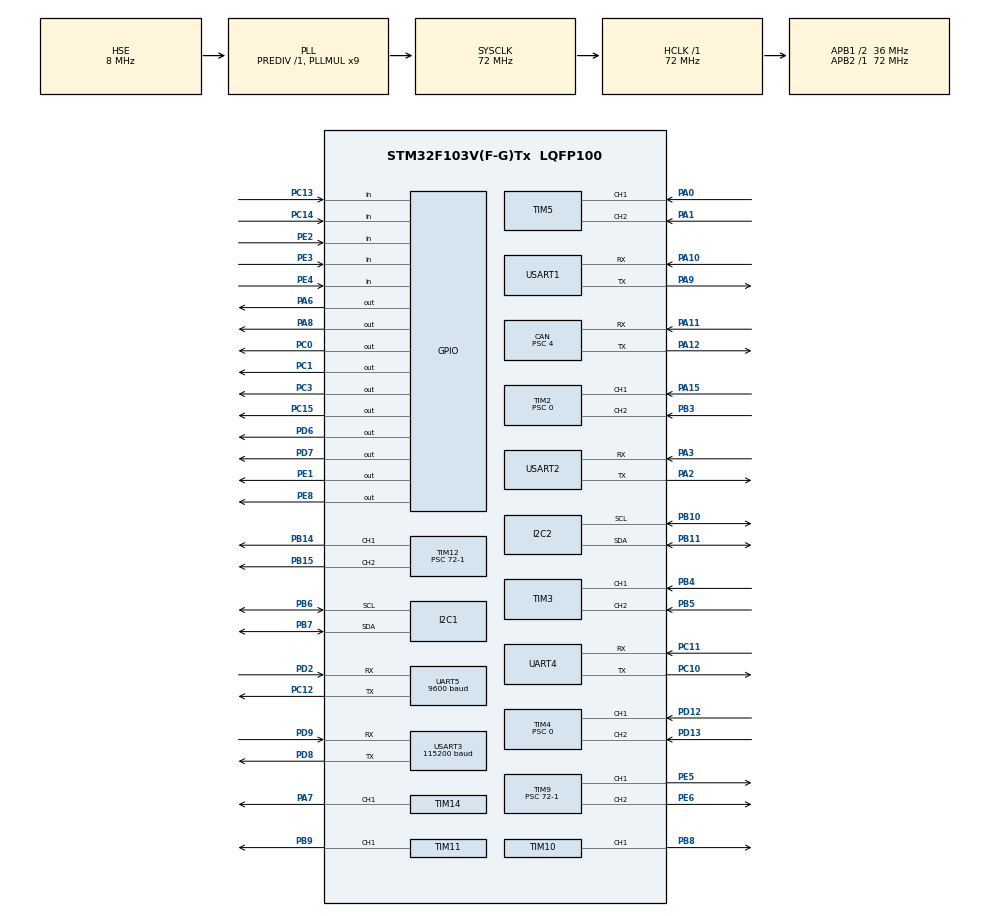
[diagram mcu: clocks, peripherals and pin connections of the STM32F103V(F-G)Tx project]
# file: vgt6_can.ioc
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CAN.ABOM=ENABLE
CAN.AWUM=DISABLE
CAN.BS1=CAN_BS1_15TQ
CAN.BS2=CAN_BS2_2TQ
CAN.CalculateBaudRate=500000
CAN.CalculateTimeBit=2000
CAN.CalculateTimeQuantum=111.11111111111111
CAN.Mode=CAN_MODE_NORMAL
CAN.NART=ENABLE
CAN.Prescaler=4
Dma.Request0=USART1_RX
Dma.Request1=USART1_TX
Dma.Request2=USART2_RX
Dma.Request3=USART2_TX
Dma.Request4=USART3_RX
Dma.Request5=USART3_TX
Dma.Request6=UART4_RX
Dma.Request7=UART4_TX
Dma.UART4_RX.6.Direction=DMA_PERIPH_TO_MEMORY
Dma.UART4_RX.6.Instance=DMA2_Channel3
Dma.UART4_RX.6.MemDataAlignment=DMA_MDATAALIGN_BYTE
Dma.UART4_RX.6.MemInc=DMA_MINC_ENABLE
Dma.UART4_RX.6.Mode=DMA_NORMAL
Dma.UART4_RX.6.PeriphDataAlignment=DMA_PDATAALIGN_BYTE
Dma.UART4_RX.6.PeriphInc=DMA_PINC_DISABLE
Dma.UART4_RX.6.Priority=DMA_PRIORITY_LOW
Dma.UART4_TX.7.Direction=DMA_MEMORY_TO_PERIPH
Dma.UART4_TX.7.Instance=DMA2_Channel5
Dma.UART4_TX.7.MemDataAlignment=DMA_MDATAALIGN_BYTE
Dma.UART4_TX.7.MemInc=DMA_MINC_ENABLE
Dma.UART4_TX.7.Mode=DMA_NORMAL
Dma.UART4_TX.7.PeriphDataAlignment=DMA_PDATAALIGN_BYTE
Dma.UART4_TX.7.PeriphInc=DMA_PINC_DISABLE
Dma.UART4_TX.7.Priority=DMA_PRIORITY_LOW
Dma.USART1_RX.0.Direction=DMA_PERIPH_TO_MEMORY
Dma.USART1_RX.0.Instance=DMA1_Channel5
Dma.USART1_RX.0.MemDataAlignment=DMA_MDATAALIGN_BYTE
Dma.USART1_RX.0.MemInc=DMA_MINC_ENABLE
Dma.USART1_RX.0.Mode=DMA_NORMAL
Dma.USART1_RX.0.PeriphDataAlignment=DMA_PDATAALIGN_BYTE
Dma.USART1_RX.0.PeriphInc=DMA_PINC_DISABLE
Dma.USART1_RX.0.Priority=DMA_PRIORITY_LOW
Dma.USART1_TX.1.Direction=DMA_MEMORY_TO_PERIPH
Dma.USART1_TX.1.Instance=DMA1_Channel4
Dma.USART1_TX.1.MemDataAlignment=DMA_MDATAALIGN_BYTE
Dma.USART1_TX.1.MemInc=DMA_MINC_ENABLE
Dma.USART1_TX.1.Mode=DMA_NORMAL
Dma.USART1_TX.1.PeriphDataAlignment=DMA_PDATAALIGN_BYTE
Dma.USART1_TX.1.PeriphInc=DMA_PINC_DISABLE
Dma.USART1_TX.1.Priority=DMA_PRIORITY_LOW
Dma.USART2_RX.2.Direction=DMA_PERIPH_TO_MEMORY
Dma.USART2_RX.2.Instance=DMA1_Channel6
Dma.USART2_RX.2.MemDataAlignment=DMA_MDATAALIGN_BYTE
Dma.USART2_RX.2.MemInc=DMA_MINC_ENABLE
Dma.USART2_RX.2.Mode=DMA_NORMAL
Dma.USART2_RX.2.PeriphDataAlignment=DMA_PDATAALIGN_BYTE
Dma.USART2_RX.2.PeriphInc=DMA_PINC_DISABLE
Dma.USART2_RX.2.Priority=DMA_PRIORITY_LOW
Dma.USART2_TX.3.Direction=DMA_MEMORY_TO_PERIPH
Dma.USART2_TX.3.Instance=DMA1_Channel7
Dma.USART2_TX.3.MemDataAlignment=DMA_MDATAALIGN_BYTE
Dma.USART2_TX.3.MemInc=DMA_MINC_ENABLE
Dma.USART2_TX.3.Mode=DMA_NORMAL
Dma.USART2_TX.3.PeriphDataAlignment=DMA_PDATAALIGN_BYTE
Dma.USART2_TX.3.PeriphInc=DMA_PINC_DISABLE
Dma.USART2_TX.3.Priority=DMA_PRIORITY_LOW
Dma.USART3_RX.4.Direction=DMA_PERIPH_TO_MEMORY
Dma.USART3_RX.4.Instance=DMA1_Channel3
Dma.USART3_RX.4.MemDataAlignment=DMA_MDATAALIGN_BYTE
Dma.USART3_RX.4.MemInc=DMA_MINC_ENABLE
Dma.USART3_RX.4.Mode=DMA_NORMAL
Dma.USART3_RX.4.PeriphDataAlignment=DMA_PDATAALIGN_BYTE
Dma.USART3_RX.4.PeriphInc=DMA_PINC_DISABLE
Dma.USART3_RX.4.Priority=DMA_PRIORITY_LOW
Dma.USART3_TX.5.Direction=DMA_MEMORY_TO_PERIPH
Dma.USART3_TX.5.Instance=DMA1_Channel2
Dma.USART3_TX.5.MemDataAlignment=DMA_MDATAALIGN_BYTE
Dma.USART3_TX.5.MemInc=DMA_MINC_ENABLE
Dma.USART3_TX.5.Mode=DMA_NORMAL
Dma.USART3_TX.5.PeriphDataAlignment=DMA_PDATAALIGN_BYTE
Dma.USART3_TX.5.PeriphInc=DMA_PINC_DISABLE
Dma.USART3_TX.5.Priority=DMA_PRIORITY_LOW
FREERTOS.Queues01=uart1_queue,4,void*,0,Dynamic,NULL,NULL
FREERTOS.Tasks01=defaultTask,8,128,StartDefaultTask,Default,NULL,Dynamic,NULL,NULL;CHASSIS_TASK,25,128,chassis_task,As external,NULL,Dynamic,NULL,NULL;POSITION_TASK,24,128,position_task,As external,NULL,Dynamic,NULL,NULL;MAIN_TASK,16,256,main_task,As external,NULL,Dynamic,NULL,NULL;UART_RX_TASK,40,256,uart_rx_task,As external,NULL,Dynamic,NULL,NULL;MUSIC_TASK,9,128,music_task,As external,NULL,Dynamic,NULL,NULL
FREERTOS.configTOTAL_HEAP_SIZE=15360
I2C1.I2C_Mode=I2C_Fast
Mcu.Family=STM32F1
Mcu.Name=STM32F103V(F-G)Tx
Mcu.Package=LQFP100
NVIC.DMA1_Channel2_IRQn=true\:5\:0\:false\:false\:true\:true\:false\:true\:true
NVIC.DMA1_Channel3_IRQn=true\:5\:0\:false\:false\:true\:true\:false\:true\:true
NVIC.DMA1_Channel4_IRQn=true\:5\:0\:false\:false\:true\:true\:false\:true\:true
NVIC.DMA1_Channel5_IRQn=true\:5\:0\:false\:false\:true\:true\:false\:true\:true
NVIC.DMA1_Channel6_IRQn=true\:5\:0\:false\:false\:true\:true\:false\:true\:true
NVIC.DMA1_Channel7_IRQn=true\:5\:0\:false\:false\:true\:true\:false\:true\:true
NVIC.DMA2_Channel3_IRQn=true\:5\:0\:false\:false\:true\:true\:false\:true\:true
NVIC.DMA2_Channel4_5_IRQn=true\:5\:0\:false\:false\:true\:true\:false\:true\:true
NVIC.PriorityGroup=NVIC_PRIORITYGROUP_4
NVIC.TIM6_IRQn=true\:15\:0\:false\:false\:true\:false\:false\:true\:true
NVIC.TimeBase=TIM6_IRQn
NVIC.TimeBaseIP=TIM6
NVIC.UART4_IRQn=true\:5\:0\:true\:false\:true\:true\:true\:true\:true
NVIC.UART5_IRQn=true\:5\:0\:true\:false\:true\:true\:true\:true\:true
NVIC.USART1_IRQn=true\:5\:0\:true\:false\:true\:true\:false\:true\:true
NVIC.USART2_IRQn=true\:5\:0\:true\:false\:true\:true\:false\:true\:true
NVIC.USART3_IRQn=true\:5\:0\:true\:false\:true\:true\:false\:true\:true
NVIC.USB_LP_CAN1_RX0_IRQn=true\:5\:0\:true\:false\:true\:true\:true\:true\:true
OSC_IN.Mode=HSE-External-Clock-Source
OSC_IN.Signal=RCC_OSC_IN
OSC_OUT.Mode=HSE-External-Clock-Source
OSC_OUT.Signal=RCC_OSC_OUT
PA0-WKUP.Signal=S_TIM5_CH1
PA1.Signal=S_TIM5_CH2
PA10.Mode=Asynchronous
PA10.Signal=USART1_RX
PA11.Mode=CAN_Activate
PA11.Signal=CAN_RX
PA12.Mode=CAN_Activate
PA12.Signal=CAN_TX
PA13.Mode=Serial_Wire
PA13.Signal=SYS_JTMS-SWDIO
PA14.Mode=Serial_Wire
PA14.Signal=SYS_JTCK-SWCLK
PA15.Signal=S_TIM2_CH1_ETR
PA2.Mode=Asynchronous
PA2.Signal=USART2_TX
PA3.Mode=Asynchronous
PA3.Signal=USART2_RX
PA6.Signal=GPIO_Output
PA7.Signal=S_TIM14_CH1
PA8.Signal=GPIO_Output
PA9.Mode=Asynchronous
PA9.Signal=USART1_TX
PB10.Mode=I2C
PB10.Signal=I2C2_SCL
PB11.Mode=I2C
PB11.Signal=I2C2_SDA
PB14.Signal=S_TIM12_CH1
PB15.Signal=S_TIM12_CH2
PB3.Signal=S_TIM2_CH2
PB4.Signal=S_TIM3_CH1
PB5.Signal=S_TIM3_CH2
PB6.Mode=I2C
PB6.Signal=I2C1_SCL
PB7.Mode=I2C
PB7.Signal=I2C1_SDA
PB8.Signal=S_TIM10_CH1
PB9.Signal=S_TIM11_CH1
PC0.Signal=GPIO_Output
PC1.Signal=GPIO_Output
PC10.Mode=Asynchronous
PC10.Signal=UART4_TX
PC11.Mode=Asynchronous
PC11.Signal=UART4_RX
PC12.Mode=Asynchronous
PC12.Signal=UART5_TX
PC13-TAMPER-RTC.Signal=GPIO_Input
PC14-OSC32_IN.Signal=GPIO_Input
PC15-OSC32_OUT.Signal=GPIO_Output
PC3.Signal=GPIO_Output
PD12.Signal=S_TIM4_CH1
PD13.Signal=S_TIM4_CH2
PD2.Mode=Asynchronous
PD2.Signal=UART5_RX
PD6.Signal=GPIO_Output
PD7.Signal=GPIO_Output
PD8.Mode=Asynchronous
PD8.Signal=USART3_TX
PD9.Mode=Asynchronous
PD9.Signal=USART3_RX
PE1.Signal=GPIO_Output
PE2.Signal=GPIO_Input
PE3.Signal=GPIO_Input
PE4.Signal=GPIO_Input
PE5.Signal=S_TIM9_CH1
PE6.Signal=S_TIM9_CH2
PE8.Signal=GPIO_Output
ProjectManager.HeapSize=0x200
ProjectManager.StackSize=0x400
ProjectManager.TargetToolchain=CMake
RCC.AHBFreq_Value=72000000
RCC.APB1CLKDivider=RCC_HCLK_DIV2
RCC.APB1Freq_Value=36000000
RCC.APB1TimFreq_Value=72000000
RCC.APB2Freq_Value=72000000
RCC.APB2TimFreq_Value=72000000
RCC.HCLKFreq_Value=72000000
RCC.PLLMUL=RCC_PLL_MUL9
RCC.PLLSourceVirtual=RCC_PLLSOURCE_HSE
RCC.SYSCLKFreq_VALUE=72000000
RCC.SYSCLKSource=RCC_SYSCLKSOURCE_PLLCLK
RCC.USBFreq_Value=72000000
SH.S_TIM10_CH1.0=TIM10_CH1,PWM Generation1 CH1
SH.S_TIM11_CH1.0=TIM11_CH1,PWM Generation1 CH1
SH.S_TIM12_CH1.0=TIM12_CH1,PWM Generation1 CH1
SH.S_TIM12_CH2.0=TIM12_CH2,PWM Generation2 CH2
SH.S_TIM14_CH1.0=TIM14_CH1,PWM Generation1 CH1
SH.S_TIM2_CH1_ETR.0=TIM2_CH1,Encoder_Interface
SH.S_TIM2_CH2.0=TIM2_CH2,Encoder_Interface
SH.S_TIM3_CH1.0=TIM3_CH1,Encoder_Interface
SH.S_TIM3_CH2.0=TIM3_CH2,Encoder_Interface
SH.S_TIM4_CH1.0=TIM4_CH1,Encoder_Interface
SH.S_TIM4_CH2.0=TIM4_CH2,Encoder_Interface
SH.S_TIM5_CH1.0=TIM5_CH1,Encoder_Interface
SH.S_TIM5_CH2.0=TIM5_CH2,Encoder_Interface
SH.S_TIM9_CH1.0=TIM9_CH1,PWM Generation1 CH1
SH.S_TIM9_CH2.0=TIM9_CH2,PWM Generation2 CH2
STMicroelectronics.X-CUBE-ALGOBUILD.1.4.0.LibraryCcDSPOoLibraryJjDSPOoLibrary=true
TIM10.Channel=TIM_CHANNEL_1
TIM10.Period=20000-1
TIM10.Prescaler=72-1
TIM11.Channel=TIM_CHANNEL_1
TIM11.Period=20000-1
TIM11.Prescaler=72-1
TIM12.Channel-PWM\ Generation1\ CH1=TIM_CHANNEL_1
TIM12.Channel-PWM\ Generation2\ CH2=TIM_CHANNEL_2
TIM12.Period=100-1
TIM12.Prescaler=72-1
TIM14.Channel=TIM_CHANNEL_1
TIM14.Period=1000-1
TIM14.Prescaler=72-1
TIM2.EncoderMode=TIM_ENCODERMODE_TI12
TIM2.IC1Filter=15
TIM2.IC1Polarity=TIM_ICPOLARITY_FALLING
TIM2.IC2Filter=15
TIM2.IC2Polarity=TIM_ICPOLARITY_FALLING
TIM2.Prescaler=0
TIM3.EncoderMode=TIM_ENCODERMODE_TI12
TIM3.IC1Filter=15
TIM3.IC1Polarity=TIM_ICPOLARITY_FALLING
TIM3.IC2Filter=15
TIM3.IC2Polarity=TIM_ICPOLARITY_FALLING
TIM4.EncoderMode=TIM_ENCODERMODE_TI12
TIM4.IC1Filter=15
TIM4.IC1Polarity=TIM_ICPOLARITY_FALLING
TIM4.IC2Filter=15
TIM4.IC2Polarity=TIM_ICPOLARITY_FALLING
TIM4.Prescaler=0
TIM5.EncoderMode=TIM_ENCODERMODE_TI12
TIM5.IC1Filter=15
TIM5.IC1Polarity=TIM_ICPOLARITY_FALLING
TIM5.IC2Filter=15
TIM5.IC2Polarity=TIM_ICPOLARITY_FALLING
TIM9.Channel-PWM\ Generation1\ CH1=TIM_CHANNEL_1
TIM9.Channel-PWM\ Generation2\ CH2=TIM_CHANNEL_2
TIM9.Period=100-1
TIM9.Prescaler=72-1
UART4.VirtualMode=Asynchronous
UART5.BaudRate=9600
UART5.VirtualMode=Asynchronous
USART1.VirtualMode=VM_ASYNC
USART2.VirtualMode=VM_ASYNC
USART3.BaudRate=115200
USART3.VirtualMode=VM_ASYNC
VP_FREERTOS_VS_CMSIS_V2.Mode=CMSIS_V2
VP_STMicroelectronics.X-CUBE-ALGOBUILD_VS_DSPOoLibraryJjLibrary_1.4.0_1.4.0.Mode=DSPOoLibraryJjLibrary
VP_SYS_VS_tim6.Mode=TIM6
VP_TIM10_VS_ClockSourceINT.Mode=Enable_Timer
VP_TIM11_VS_ClockSourceINT.Mode=Enable_Timer
VP_TIM12_VS_ClockSourceINT.Mode=Internal
VP_TIM14_VS_ClockSourceINT.Mode=Enable_Timer
VP_TIM9_VS_ClockSourceINT.Mode=Internal
board=custom

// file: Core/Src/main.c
/* USER CODE BEGIN Header */
/**
  ******************************************************************************
  * @file           : main.c
  * @brief          : Main program body
  ******************************************************************************
  * @attention
  *
  * Copyright (c) 2026 STMicroelectronics.
  * All rights reserved.
  *
  * This software is licensed under terms that can be found in the LICENSE file
  * in the root directory of this software component.
  * If no LICENSE file comes with this software, it is provided AS-IS.
  *
  ******************************************************************************
  */
/* USER CODE END Header */
#include "main.h"
#include "cmsis_os.h"
#include "can.h"
#include "dma.h"
#include "i2c.h"
#include "tim.h"
#include "usart.h"
#include "gpio.h"

/* USER CODE BEGIN Includes */
#include "bsp_can.h"
#include "bsp_buzzer_pwm.h"
#include <stdint.h>
#include <stdio.h>
#include "bsp_music.h"
#include "bsp_led.h"
#include "bsp_delay.h"
#include "bsp_key.h"
#include "bsp_servo_pwm.h"
#include "struct_typedef.h"
#include "gm65.h"
#include "bsp_encoder.h"
#include "bsp_usart.h"
#include "chassis_task.h"
#include "position_task.h"
#include "dc_motor.h"
#include "OLED.h"
#include "test_task.h"
#include <string.h>

/* USER CODE END Includes */

/* USER CODE BEGIN PV */

char msg[256] = {0};

/* USER CODE END PV */

void SystemClock_Config(void);
void MX_FREERTOS_Init(void);

/* USER CODE BEGIN 0 */
void chassis_data_send(UART_HandleTypeDef *huart)// uart句柄
{
    static uint32_t last_send_tick = 0;
    uint32_t now_tick = HAL_GetTick();

    if (huart == NULL)
    {
      return;
    }

    // 10Hz发送，避免占满串口带宽
    if ((now_tick - last_send_tick) < 100U)
    {
      return;
    }
    last_send_tick = now_tick;

    const chassis_odometry_t *position = get_position_data();
    const chassis_move_t *chassis = get_chassis_move_data();

    if ((position == NULL) || (chassis == NULL))
    {
      return;
    }

    int len = snprintf(msg, sizeof(msg),
                       "chassis:%.3f,%.3f,%.3f,%.3f,%.3f,%.3f,%.3f,%.3f,%.3f\n",
                       position->position_x,      // ch0: 里程计X
                       position->position_y,      // ch1: 里程计Y
                       position->position_x_set,  // ch2: 目标X
                       position->position_y_set,  // ch3: 目标Y
                       position->yaw_set,         // ch4: 外环目标角度(yaw)
                       chassis->chassis_yaw,       // ch5: 当前底盘航向角(yaw)
                       chassis->vx,                // ch6: 底盘X轴速度(vx)
                       chassis->vy,                // ch7: 底盘Y轴速度(vy)
                       chassis->wz);               // ch8: 底盘角速度(wz)

    if ((len > 0) && (huart->gState == HAL_UART_STATE_READY))
    {
      HAL_UART_Transmit_DMA(huart, (uint8_t *)msg, (uint16_t)len);
    }
}
/* USER CODE END 0 */

int main(void)
{

  /* MCU Configuration--------------------------------------------------------*/

  /* Reset of all peripherals, Initializes the Flash interface and the Systick. */
  HAL_Init();

  /* Configure the system clock */
  SystemClock_Config();

  /* Initialize all configured peripherals */
  MX_GPIO_Init();
  MX_DMA_Init();
  MX_CAN_Init();
  MX_UART4_Init();
  MX_UART5_Init();
  MX_USART1_UART_Init();
  MX_USART2_UART_Init();
  MX_USART3_UART_Init();
  MX_I2C1_Init();
  MX_TIM14_Init();
  MX_TIM10_Init();
  MX_TIM11_Init();
  MX_I2C2_Init();
  MX_TIM2_Init();
  MX_TIM3_Init();
  MX_TIM4_Init();
  MX_TIM5_Init();
  MX_TIM9_Init();
  MX_TIM12_Init();
  /* USER CODE BEGIN 2 */

  delay_ms(2000);
  can_filter_init(); // 初始化 CAN 过滤器
  delay_ms(1);
  buzzer_init(); // 初始化蜂鸣器 PWM
  bsp_servo_pwm_init(); // 初始化云台和夹爪舵机 PWM
  dc_motor_pwm_init(); // 初始化电机 PWM
  //HAL_TIM_Base_Start_IT(&htim7); // 启动 TIM7 中断,用于周期任务调度,1ms

  uart_init_dma(&huart4); // 初始化 UART4 DMA 接收（空闲模式）
  uart_init_dma(&huart1); // 初始化 UART1 DMA 接收
  uart_init_it(&huart5); // 初始化 UART 接收中断

  delay_ms(10);

  bsp_encoder_init(); // 初始化编码器

  OLED_Init();

  bsp_led_on(CORE_ONE);

  /* USER CODE END 2 */

  /* Init scheduler */
  osKernelInitialize();  /* Call init function for freertos objects (in cmsis_os2.c) */
  MX_FREERTOS_Init();

  /* Start scheduler */
  osKernelStart();

  /* We should never get here as control is now taken by the scheduler */

  /* Infinite loop */
  /* USER CODE BEGIN WHILE */
  while (1)
  {
    //Key_Handle_Loop(); // 按键处理循环
    //process_data(&huart5); // 处理gm65接收到的数据
    //GPIOD->BSRR = GPIO_PIN_7;
    //position_task_cycle(); // 底盘位置环控制
    //chassis_task_cycle(); // 底盘速度控制
    //GPIOD->BRR = GPIO_PIN_7;
    //chassis_data_send(&huart3); // 发送底盘状态数据

    //Blue_Control_Process();
    //pwm_cmd_chassis(9, 9, 9, 9);
    //delay_ms(1000);
    //pwm_cmd_chassis(30, 30, 30, 30);

    /* USER CODE END WHILE */

  }
}

void SystemClock_Config(void)
{
  RCC_OscInitTypeDef RCC_OscInitStruct = {0};
  RCC_ClkInitTypeDef RCC_ClkInitStruct = {0};

  /** Initializes the RCC Oscillators according to the specified parameters
  * in the RCC_OscInitTypeDef structure.
  */
  RCC_OscInitStruct.OscillatorType = RCC_OSCILLATORTYPE_HSE;
  RCC_OscInitStruct.HSEState = RCC_HSE_BYPASS;
  RCC_OscInitStruct.HSEPredivValue = RCC_HSE_PREDIV_DIV1;
  RCC_OscInitStruct.HSIState = RCC_HSI_ON;
  RCC_OscInitStruct.PLL.PLLState = RCC_PLL_ON;
  RCC_OscInitStruct.PLL.PLLSource = RCC_PLLSOURCE_HSE;
  RCC_OscInitStruct.PLL.PLLMUL = RCC_PLL_MUL9;
  if (HAL_RCC_OscConfig(&RCC_OscInitStruct) != HAL_OK)
  {
    Error_Handler();
  }

  /** Initializes the CPU, AHB and APB buses clocks
  */
  RCC_ClkInitStruct.ClockType = RCC_CLOCKTYPE_HCLK|RCC_CLOCKTYPE_SYSCLK
                              |RCC_CLOCKTYPE_PCLK1|RCC_CLOCKTYPE_PCLK2;
  RCC_ClkInitStruct.SYSCLKSource = RCC_SYSCLKSOURCE_PLLCLK;
  RCC_ClkInitStruct.AHBCLKDivider = RCC_SYSCLK_DIV1;
  RCC_ClkInitStruct.APB1CLKDivider = RCC_HCLK_DIV2;
  RCC_ClkInitStruct.APB2CLKDivider = RCC_HCLK_DIV1;

  if (HAL_RCC_ClockConfig(&RCC_ClkInitStruct, FLASH_LATENCY_2) != HAL_OK)
  {
    Error_Handler();
  }
}

void HAL_TIM_PeriodElapsedCallback(TIM_HandleTypeDef *htim)
{
  if (htim->Instance == TIM6)
  {
    HAL_IncTick();
  }
}

void Error_Handler(void)
{
  __disable_irq();
  while (1)
  {
  }
}

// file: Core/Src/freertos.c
/* USER CODE BEGIN Header */
/**
  ******************************************************************************
  * File Name          : freertos.c
  * Description        : Code for freertos applications
  ******************************************************************************
  * @attention
  *
  * Copyright (c) 2026 STMicroelectronics.
  * All rights reserved.
  *
  * This software is licensed under terms that can be found in the LICENSE file
  * in the root directory of this software component.
  * If no LICENSE file comes with this software, it is provided AS-IS.
  *
  ******************************************************************************
  */
/* USER CODE END Header */

#include "FreeRTOS.h"
#include "task.h"
#include "main.h"
#include "cmsis_os.h"

/* Definitions for defaultTask */
osThreadId_t defaultTaskHandle;
const osThreadAttr_t defaultTask_attributes = {
  .name = "defaultTask",
  .stack_size = 128 * 4,
  .priority = (osPriority_t) osPriorityLow,
};
/* Definitions for CHASSIS_TASK */
osThreadId_t CHASSIS_TASKHandle;
const osThreadAttr_t CHASSIS_TASK_attributes = {
  .name = "CHASSIS_TASK",
  .stack_size = 128 * 4,
  .priority = (osPriority_t) osPriorityNormal1,
};
/* Definitions for POSITION_TASK */
osThreadId_t POSITION_TASKHandle;
const osThreadAttr_t POSITION_TASK_attributes = {
  .name = "POSITION_TASK",
  .stack_size = 128 * 4,
  .priority = (osPriority_t) osPriorityNormal,
};
/* Definitions for MAIN_TASK */
osThreadId_t MAIN_TASKHandle;
const osThreadAttr_t MAIN_TASK_attributes = {
  .name = "MAIN_TASK",
  .stack_size = 256 * 4,
  .priority = (osPriority_t) osPriorityBelowNormal,
};
/* Definitions for UART_RX_TASK */
osThreadId_t UART_RX_TASKHandle;
const osThreadAttr_t UART_RX_TASK_attributes = {
  .name = "UART_RX_TASK",
  .stack_size = 256 * 4,
  .priority = (osPriority_t) osPriorityHigh,
};
/* Definitions for MUSIC_TASK */
osThreadId_t MUSIC_TASKHandle;
const osThreadAttr_t MUSIC_TASK_attributes = {
  .name = "MUSIC_TASK",
  .stack_size = 128 * 4,
  .priority = (osPriority_t) osPriorityLow1,
};
/* Definitions for uart1_queue */
osMessageQueueId_t uart1_queueHandle;
const osMessageQueueAttr_t uart1_queue_attributes = {
  .name = "uart1_queue"
};

void StartDefaultTask(void *argument);
extern void chassis_task(void *argument);
extern void position_task(void *argument);
extern void main_task(void *argument);
extern void uart_rx_task(void *argument);
extern void music_task(void *argument);

void MX_FREERTOS_Init(void); /* (MISRA C 2004 rule 8.1) */

void MX_FREERTOS_Init(void) {

  /* Create the queue(s) */
  /* creation of uart1_queue */
  uart1_queueHandle = osMessageQueueNew (4, sizeof(void*), &uart1_queue_attributes);

  /* Create the thread(s) */
  /* creation of defaultTask */
  defaultTaskHandle = osThreadNew(StartDefaultTask, NULL, &defaultTask_attributes);

  /* creation of CHASSIS_TASK */
  CHASSIS_TASKHandle = osThreadNew(chassis_task, NULL, &CHASSIS_TASK_attributes);

  /* creation of POSITION_TASK */
  POSITION_TASKHandle = osThreadNew(position_task, NULL, &POSITION_TASK_attributes);

  /* creation of MAIN_TASK */
  MAIN_TASKHandle = osThreadNew(main_task, NULL, &MAIN_TASK_attributes);

  /* creation of UART_RX_TASK */
  UART_RX_TASKHandle = osThreadNew(uart_rx_task, NULL, &UART_RX_TASK_attributes);

  /* creation of MUSIC_TASK */
  MUSIC_TASKHandle = osThreadNew(music_task, NULL, &MUSIC_TASK_attributes);

}

void StartDefaultTask(void *argument)
{
  for(;;)
  {
    osDelay(1);
  }
}
